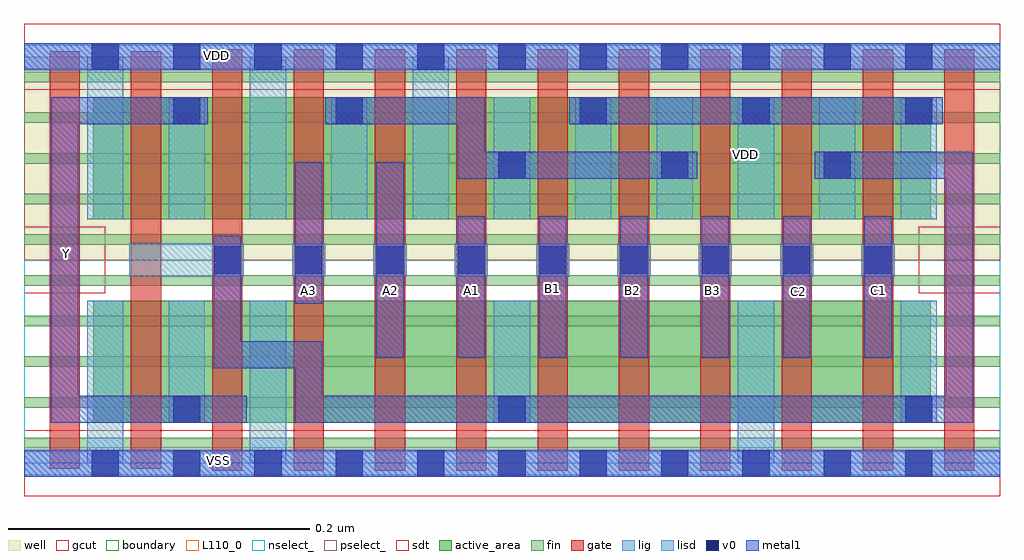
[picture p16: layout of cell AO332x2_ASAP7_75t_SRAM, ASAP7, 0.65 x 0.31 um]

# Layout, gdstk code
import gdstk
lib = gdstk.Library(unit=1e-6, precision=2.5e-10)
def R(c, l, rs):  # rectangles x0, y0, x1, y1
    for r in rs: c.add(gdstk.rectangle(r[:2], r[2:], *l))
def A(c, l, x, y, w, h, nx, ny, dx, dy):  # array of equal rectangles
    R(c, l, [(x+i*dx, y+j*dy, x+i*dx+w, y+j*dy+h) for i in range(nx) for j in range(ny)])
def P(c, l, *ps):  # polygons
    for p in ps: c.add(gdstk.Polygon(p, *l))
well = (1, 0)
fin = (2, 0)
gate = (7, 0)
gcut = (10, 0)
active_area = (11, 0)
nselect_ = (12, 0)
pselect_ = (13, 0)
lig = (16, 0)
lisd = (17, 0)
v0 = (18, 0)
metal1 = (19, 0)
sdt = (88, 0)
boundary = (100, 0)
L110_0 = (110, 0)

ao332x2_asap7_75t_sram = lib.new_cell('AO332x2_ASAP7_75t_SRAM')
R(ao332x2_asap7_75t_sram, well, [(0,0.135,0.648,0.27)])
A(ao332x2_asap7_75t_sram, fin, 0, 0.01, 0.648, 0.007, 1, 10, 0, 0.027)
A(ao332x2_asap7_75t_sram, gate, 0.125, -0.005, 0.02, 0.28, 10, 1, 0.054, 0)
R(ao332x2_asap7_75t_sram, gate, [(0.017,-0.0035,0.037,0.2735), (0.071,-0.0035,0.091,0.2735)])
R(ao332x2_asap7_75t_sram, gcut, [(0,-0.022,0.648,0.022), (0,0.113,0.054,0.157), (0.594,0.113,0.648,0.157), (0,0.248,0.648,0.292)])
R(ao332x2_asap7_75t_sram, active_area, [(0.046,0.027,0.602,0.108), (0.046,0.162,0.602,0.243)])
R(ao332x2_asap7_75t_sram, nselect_, [(0,0,0.648,0.135)])
R(ao332x2_asap7_75t_sram, pselect_, [(0,0.135,0.648,0.27)])
A(ao332x2_asap7_75t_sram, lig, 0.178, 0.124, 0.022, 0.022, 8, 1, 0.054, 0)
R(ao332x2_asap7_75t_sram, lig, [(0,-0.008,0.648,0.008), (0.07,0.124,0.146,0.146), (0,0.262,0.648,0.278)])
A(ao332x2_asap7_75t_sram, lisd, 0.096, 0.162, 0.024, 0.081, 3, 1, 0.108, 0)
A(ao332x2_asap7_75t_sram, lisd, 0.366, 0.162, 0.024, 0.081, 5, 1, 0.054, 0)
R(ao332x2_asap7_75t_sram, lisd, [(0.042,0,0.066,0.108), (0.15,0,0.174,0.108), (0.15,0,0.174,0.108), (0.474,0,0.498,0.108), (0.096,0.027,0.12,0.108), (0.312,0.027,0.336,0.108), (0.582,0.027,0.606,0.108), (0.042,0.162,0.066,0.27), (0.15,0.162,0.174,0.27), (0.15,0.162,0.174,0.27), (0.258,0.162,0.282,0.27)])
A(ao332x2_asap7_75t_sram, v0, 0.045, -0.009, 0.018, 0.018, 3, 2, 0.054, 0.27)
A(ao332x2_asap7_75t_sram, v0, 0.153, -0.009, 0.018, 0.018, 9, 2, 0.054, 0.27)
A(ao332x2_asap7_75t_sram, v0, 0.126, 0.126, 0.018, 0.018, 9, 1, 0.054, 0)
A(ao332x2_asap7_75t_sram, v0, 0.315, 0.189, 0.018, 0.018, 3, 1, 0.108, 0)
A(ao332x2_asap7_75t_sram, v0, 0.369, 0.225, 0.018, 0.018, 3, 1, 0.108, 0)
R(ao332x2_asap7_75t_sram, v0, [(0.099,0.027,0.117,0.045), (0.315,0.027,0.333,0.045), (0.585,0.027,0.603,0.045), (0.099,0.225,0.117,0.243), (0.207,0.225,0.225,0.243)])
A(ao332x2_asap7_75t_sram, metal1, 0.288, 0.07, 0.018, 0.094, 6, 1, 0.054, 0)
R(ao332x2_asap7_75t_sram, metal1, [(0,-0.009,0.648,0.009), (0.18,0.031,0.198,0.081), (0.126,0.063,0.144,0.151), (0.132,0.063,0.187,0.081), (0.234,0.07,0.252,0.2), (0.18,0.106,0.198,0.2), (0.288,0.189,0.306,0.243), (0.288,0.189,0.447,0.207), (0.2,0.225,0.301,0.243), (0.362,0.225,0.61,0.243), (0,0.261,0.648,0.279)])
P(ao332x2_asap7_75t_sram, metal1, [(0.122,0.243),(0.018,0.243),(0.018,0.027),(0.148,0.027),(0.148,0.045),(0.036,0.045),(0.036,0.225),(0.122,0.225)],
  [(0.63,0.207),(0.525,0.207),(0.525,0.189),(0.612,0.189),(0.612,0.045),(0.18,0.045),(0.18,0.027),(0.63,0.027)])
A(ao332x2_asap7_75t_sram, sdt, 0.042, 0.027, 0.024, 0.081, 3, 2, 0.054, 0.135)
A(ao332x2_asap7_75t_sram, sdt, 0.15, 0.027, 0.024, 0.081, 3, 1, 0.162, 0)
A(ao332x2_asap7_75t_sram, sdt, 0.15, 0.162, 0.024, 0.081, 9, 1, 0.054, 0)
R(ao332x2_asap7_75t_sram, sdt, [(0.582,0.027,0.606,0.108)])
R(ao332x2_asap7_75t_sram, boundary, [(0,0,0.648,0.27)])
R(ao332x2_asap7_75t_sram, L110_0, [(0,0,0.648,0.27)])
ao332x2_asap7_75t_sram.add(gdstk.Label('Y', (0.0285,0.1395), layer=19, texttype=251))
ao332x2_asap7_75t_sram.add(gdstk.Label('VDD', (0.128,0.271), layer=19, texttype=251))
ao332x2_asap7_75t_sram.add(gdstk.Label('VSS', (0.129,0.002), layer=19, texttype=251))
ao332x2_asap7_75t_sram.add(gdstk.Label('C1', (0.567,0.115), layer=19, texttype=251))
ao332x2_asap7_75t_sram.add(gdstk.Label('C2', (0.514,0.114), layer=19, texttype=251))
ao332x2_asap7_75t_sram.add(gdstk.Label('B3', (0.457,0.115), layer=19, texttype=251))
ao332x2_asap7_75t_sram.add(gdstk.Label('B2', (0.404,0.115), layer=19, texttype=251))
ao332x2_asap7_75t_sram.add(gdstk.Label('B1', (0.351,0.116), layer=19, texttype=251))
ao332x2_asap7_75t_sram.add(gdstk.Label('A1', (0.297,0.115), layer=19, texttype=251))
ao332x2_asap7_75t_sram.add(gdstk.Label('A2', (0.243,0.115), layer=19, texttype=251))
ao332x2_asap7_75t_sram.add(gdstk.Label('A3', (0.189,0.115), layer=19, texttype=251))
ao332x2_asap7_75t_sram.add(gdstk.Label('VDD', (0.479,0.205), layer=1, texttype=251))
ao332x2_asap7_75t_sram.add(gdstk.Label('VSS', (0.42,-0.046), layer=3, texttype=251))

lib.write_gds('AO332x2_ASAP7_75t_SRAM.gds')
